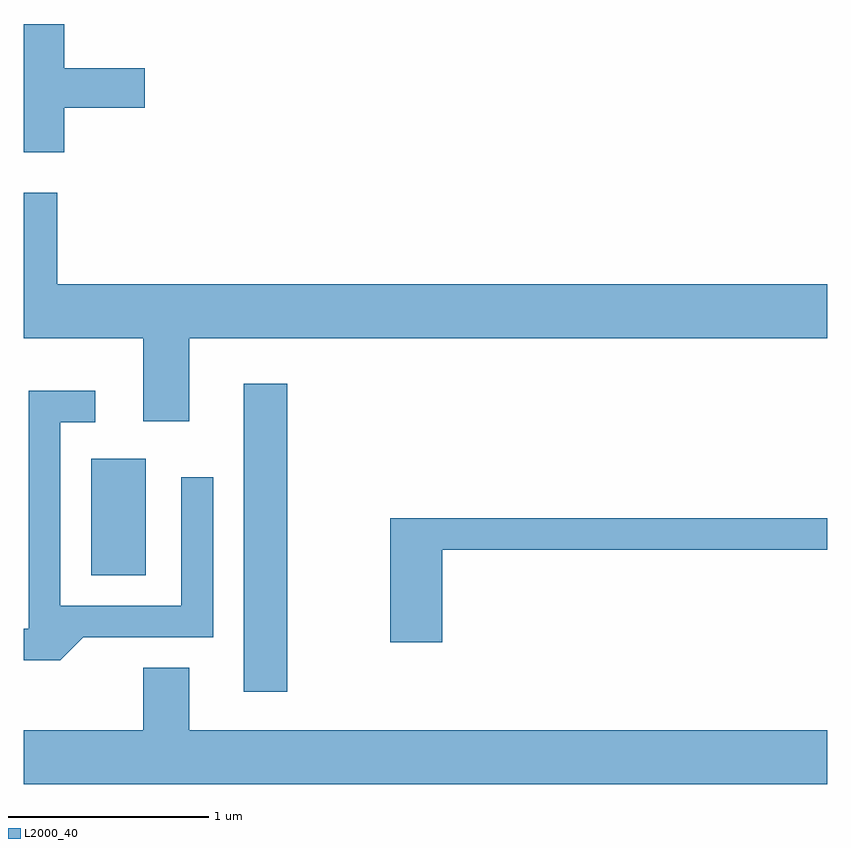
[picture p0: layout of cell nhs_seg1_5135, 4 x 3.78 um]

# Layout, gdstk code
import gdstk
lib = gdstk.Library(unit=1e-6, precision=1e-09)
def R(c, l, rs):  # rectangles x0, y0, x1, y1
    for r in rs: c.add(gdstk.rectangle(r[:2], r[2:], *l))
def P(c, l, *ps):  # polygons
    for p in ps: c.add(gdstk.Polygon(p, *l))
L2000_40 = (2000, 40)

nhs_seg1_5135 = lib.new_cell('nhs_seg1_5135')
R(nhs_seg1_5135, L2000_40, [(340.706,902.256,340.924,903.789), (339.946,902.836,340.219,903.414)])
P(nhs_seg1_5135, L2000_40, [(339.814,905.161),(340.214,905.161),(340.214,905.359),(339.814,905.359),(339.814,905.579),(339.611,905.579),(339.611,904.941),(339.814,904.941)],
  [(340.434,904.016),(343.611,904.016),(343.611,904.284),(339.779,904.284),(339.779,904.739),(339.611,904.739),(339.611,904.016),(340.206,904.016),(340.206,903.601),(340.434,903.601)],
  [(339.907,902.526),(340.554,902.526),(340.554,903.323),(340.396,903.323),(340.396,902.684),(339.794,902.684),(339.794,903.596),(339.968,903.596),(339.968,903.754),(339.636,903.754),(339.636,902.569),(339.611,902.569),(339.611,902.411),(339.792,902.411)],
  [(341.694,902.961),(343.611,902.961),(343.611,903.119),(341.436,903.119),(341.436,902.501),(341.694,902.501)],
  [(343.611,902.064),(340.434,902.064),(340.434,902.374),(340.206,902.374),(340.206,902.064),(339.611,902.064),(339.611,901.796),(343.611,901.796)])

lib.write_gds('nhs_seg1_5135.gds')
